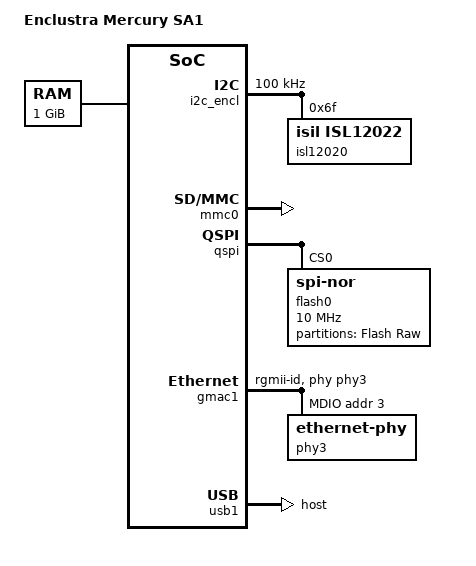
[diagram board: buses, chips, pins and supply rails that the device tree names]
// SPDX-License-Identifier: GPL-2.0+ OR MIT
/*
 * Copyright (C) 2024 Enclustra GmbH - https://www.enclustra.com
 */

#include "socfpga_cyclone5.dtsi"

/ {
	model = "Enclustra Mercury SA1";
	compatible = "altr,socfpga-cyclone5", "altr,socfpga";

	chosen {
		stdout-path = "serial0:115200n8";
	};

	aliases {
		ethernet0 = &gmac1;
	};

	/* Adjusted the i2c labels to use generic base-board dtsi files for
	 * Enclustra Arria10 and Cyclone5 SoMs.
	 *
	 * The set of i2c0 and i2c1 labels defined in socfpga_cyclone5.dtsi and in
	 * socfpga_arria10.dtsi do not allow for using the same base-board .dtsi
	 * fragments. Thus define generic labels here to match the correct i2c
	 * bus in a generic base-board .dtsi file.
	 */
	soc {
		i2c_encl: i2c@ffc04000 {
		};
		i2c_encl_fpga: i2c@ffc05000 {
		};
	};

	memory {
		name = "memory";
		device_type = "memory";
		reg = <0x0 0x40000000>; /* 1GB */
	};
};

&osc1 {
	clock-frequency = <50000000>;
};

&i2c_encl {
	i2c-sda-hold-time-ns = <300>;
	clock-frequency = <100000>;
	status = "okay";

	isl12020: rtc@6f {
		compatible = "isil,isl12022";
		reg = <0x6f>;
	};
};

&i2c_encl_fpga {
	i2c-sda-hold-time-ns = <300>;
	status = "disabled";
};

&uart0 {
	clock-frequency = <100000000>;
};

&mmc0 {
	status = "okay";
	/delete-property/ cap-mmc-highspeed;
	/delete-property/ cap-sd-highspeed;
};

&qspi {
	status = "okay";

	flash0: flash@0 {
		u-boot,dm-pre-reloc;
		#address-cells = <1>;
		#size-cells = <1>;
		compatible = "jedec,spi-nor";
		reg = <0>;

		spi-rx-bus-width = <4>;
		spi-tx-bus-width = <4>;
		spi-max-frequency = <10000000>;

		cdns,read-delay = <4>;
		cdns,tshsl-ns = <50>;
		cdns,tsd2d-ns = <50>;
		cdns,tchsh-ns = <4>;
		cdns,tslch-ns = <4>;

		partition@raw {
			label = "Flash Raw";
			reg = <0x0 0x4000000>;
		};
	};
};

&gpio0 {
	status = "okay";
};

&gpio1 {
	status = "okay";
};

&gmac1 {
	status = "okay";
	/delete-property/ mac-address;
	phy-mode = "rgmii-id";
	phy-handle = <&phy3>;

	mdio0 {
		#address-cells = <1>;
		#size-cells = <0>;
		compatible = "snps,dwmac-mdio";

		phy3: ethernet-phy@3 {
			reg = <3>;

			/* Add 2ns RX clock delay (1.2ns + 0.78ns)*/
			rxc-skew-ps = <1680>;
			rxd0-skew-ps = <420>;
			rxd1-skew-ps = <420>;
			rxd2-skew-ps = <420>;
			rxd3-skew-ps = <420>;
			rxdv-skew-ps = <420>;

			/* Add 1.38ns TX clock delay (0.96ns + 0.42ns)*/
			txc-skew-ps = <1860>;
			txd0-skew-ps = <0>;
			txd1-skew-ps = <0>;
			txd2-skew-ps = <0>;
			txd3-skew-ps = <0>;
			txen-skew-ps = <0>;
		};
	};
};

&usb1 {
	status = "okay";
	dr_mode = "host";
};
